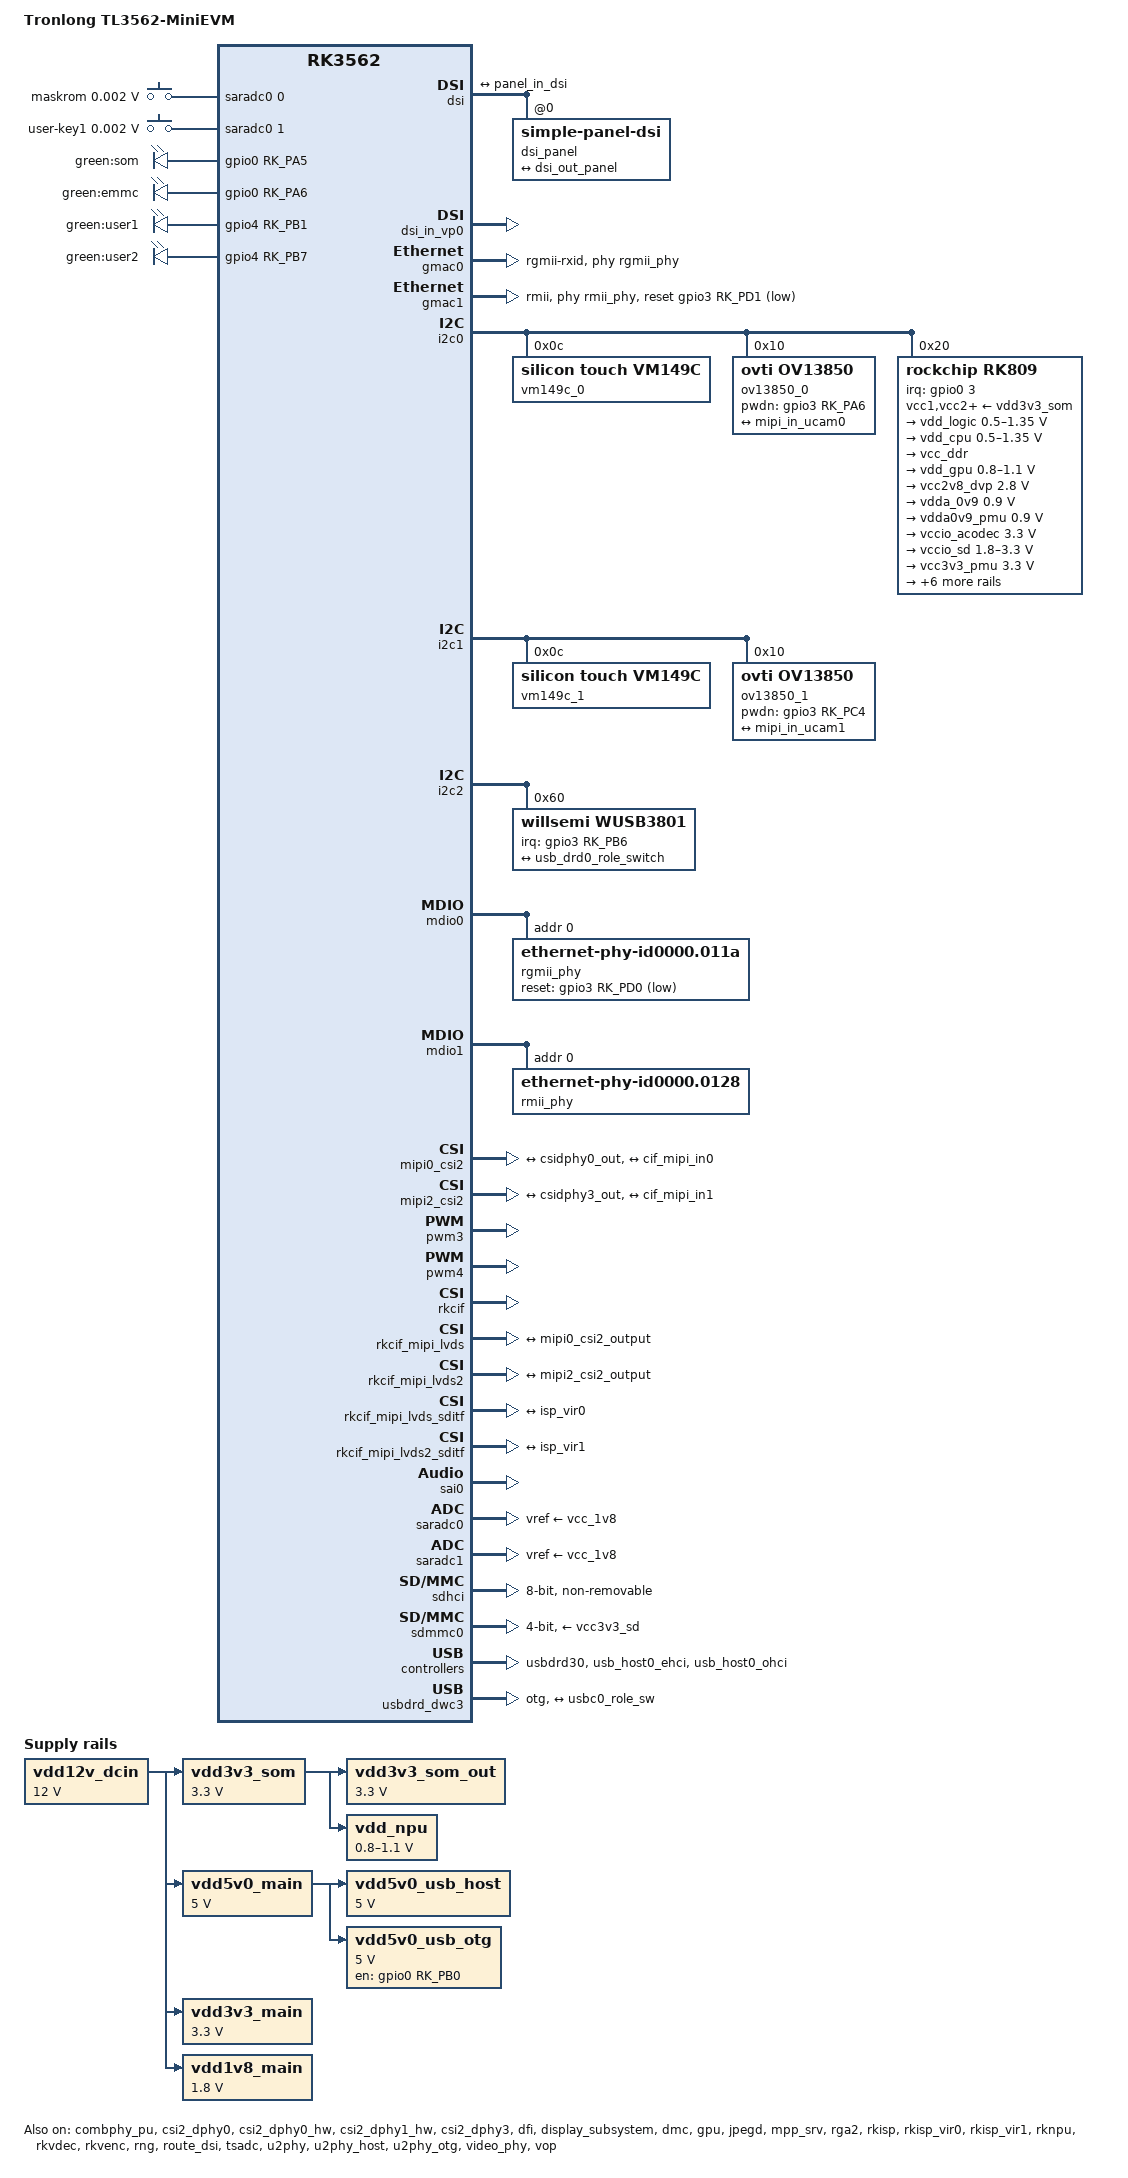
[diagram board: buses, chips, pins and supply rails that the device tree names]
// SPDX-License-Identifier: (GPL-2.0+ OR MIT)
/*
 * Copyright (c) 2022 Rockchip Electronics Co., Ltd.
 * Copyright (c) 2026 flippy (flippy@sina.com)
 *
 */

/dts-v1/;

#include <dt-bindings/display/drm_mipi_dsi.h>
#include <dt-bindings/gpio/gpio.h>
#include <dt-bindings/input/input.h>
#include <dt-bindings/pinctrl/rockchip.h>
#include "rk3562.dtsi"
#include "rk3562-amp.dtsi"

/ {
	model = "Tronlong TL3562-MiniEVM";
	compatible = "tronlong,tl3562-minievm", "rockchip,rk3562";

	aliases {
		mmc0 = &sdhci;
		mmc1 = &sdmmc0;
		mmc2 = &sdmmc1;
	};

	adc_keys0: adc-keys0 {
		compatible = "adc-keys";
		io-channels = <&saradc0 0>;
		io-channel-names = "buttons";
		keyup-threshold-microvolt = <1800000>;
		poll-interval = <100>;

		user_key@2 {
			label = "maskrom";
			linux,code = <KEY_PROG1>;
			press-threshold-microvolt = <1750>;
		};
	};

	adc_keys1: adc-keys1 {
		compatible = "adc-keys";
		io-channels = <&saradc0 1>;
		io-channel-names = "buttons";
		keyup-threshold-microvolt = <1800000>;
		poll-interval = <100>;

		user_key@0 {
			label = "user-key1";
			linux,code = <KEY_PROG1>;
			press-threshold-microvolt = <1750>;
		};
	};

	chosen: chosen {
		bootargs = "earlycon=uart8250,mmio32,0xff210000 console=ttyFIQ0";
	};

	fiq_debugger: fiq-debugger {
		compatible = "rockchip,fiq-debugger";
		rockchip,serial-id = <0>;
		rockchip,wake-irq = <0>;
		/* If enable uart uses irq instead of fiq */
		rockchip,irq-mode-enable = <1>;
		rockchip,baudrate = <1500000>;  /* Only 115200 and 1500000 */
		interrupts = <GIC_SPI 242 IRQ_TYPE_LEVEL_HIGH>;
		pinctrl-names = "default";
		pinctrl-0 = <&uart0m0_xfer>;
		status = "okay";
	};

	gpio_leds: gpio-leds {
		compatible = "gpio-leds";
		pinctrl-names = "default";
		pinctrl-0 = <&led_green_som_pin
			     &led_green_emmc_pin
			     &led_green_user1_pin
		             &led_green_user2_pin>;

		led_green_som: led-green-som {
			label = "green:som";
			gpios = <&gpio0 RK_PA5 GPIO_ACTIVE_HIGH>;
			linux,default-trigger = "heartbeat";
		};

		led_green_emmc: led-green-emmc {
			label = "green:emmc";
			gpios = <&gpio0 RK_PA6 GPIO_ACTIVE_HIGH>;
			linux,default-trigger = "mmc0";
		};

		led_green_user1: led-green-user1 {
			label = "green:user1";
			gpios = <&gpio4 RK_PB1 GPIO_ACTIVE_HIGH>;
			linux,default-trigger = "heartbeat";
		};

		led_green_user2: led-green-user2 {
			label = "green:user2";
			gpios = <&gpio4 RK_PB7 GPIO_ACTIVE_HIGH>;
			linux,default-trigger = "heartbeat";
		};
	};

	pdm_codec: dummy-codec {
		status = "okay";
		compatible = "rockchip,dummy-codec";
		#sound-dai-cells = <0>;
	};

	pdm_mic_array: pdm-mic-array {
		status = "disabled";
		compatible = "simple-audio-card";
		simple-audio-card,name = "rockchip,pdm-mic-array";
		simple-audio-card,cpu {
			sound-dai = <&pdm>;
		};
		simple-audio-card,codec {
			sound-dai = <&pdm_codec>;
		};
	};

	ov9281_clk: ov9281-clk {
		compatible = "fixed-clock";
		#clock-cells = <0>;
		clock-frequency = <24000000>;
		clock-output-names = "ov9281_clk";
	};

	imx219_clk: imx219-clk {
		compatible = "fixed-clock";
		#clock-cells = <0>;
		clock-frequency = <24000000>;
		clock-output-names = "imx219_clk";
	};

	reserved-memory {
		amp_core0_mem_reserved: amp-core0-mem@5800000 {
			reg = <0x0 0x05800000 0x0 0x00800000>;
			no-map;
		};
		amp_core1_mem_reserved: amp-core1-mem@6000000 {
			reg = <0x0 0x06000000 0x0 0x00800000>;
			no-map;
		};
		amp_core2_mem_reserved: amp-core2-mem@6800000 {
			reg = <0x0 0x06800000 0x0 0x00800000>;
			no-map;
		};
		amp_core3_mem_reserved: amp-core3-mem@0x7000000 {
			reg = <0x0 0x07000000 0x0 0x00800000>;
			no-map;
		};
	};

	rk809_sound: rk809-sound {
		status = "okay";
		compatible = "rockchip,multicodecs-card";
		rockchip,card-name = "rockchip-rk809";
		rockchip,format = "i2s";
		rockchip,mclk-fs = <256>;
		rockchip,cpu = <&sai0>;
		rockchip,codec = <&rk809_codec>;
	};

	/* Power source:
	 *   VDD_12V_IN@2A or
	 *   VDD_ADJ_VBUS@5V 2A/9V 2A, from typec power and boost to 12v or
	 *   VDD_5V_VUSB@5V 0.9A, from typec debug and boost to 12v
	 */
	vdd12v_dcin: regulator-vdd12v-dcin {
		compatible = "regulator-fixed";
		regulator-always-on;
		regulator-boot-on;
		regulator-min-microvolt = <12000000>;
		regulator-max-microvolt = <12000000>;
		regulator-name = "vdd12v_dcin";
	};

	/* to: tl3562-som core board */
	vdd3v3_som: regulator-vdd3v3-som {
		compatible = "regulator-fixed";
		regulator-always-on;
		regulator-boot-on;
		regulator-min-microvolt = <3300000>;
		regulator-max-microvolt = <3300000>;
		regulator-name = "vdd3v3_som";
		vin-supply = <&vdd12v_dcin>;
	};

	/* vdd3v3 som output to mainboard */
	vdd3v3_som_out: regulator-vdd3v3-som-out {
		compatible = "regulator-fixed";
		regulator-always-on;
		regulator-boot-on;
		regulator-min-microvolt = <3300000>;
		regulator-max-microvolt = <3300000>;
		regulator-name = "vdd3v3_som_out";
		vin-supply = <&vdd3v3_som>;
	};

	/* enabled by vdd3v3_som_out */
	vdd5v0_main: regulator-vdd5v0-main {
		compatible = "regulator-fixed";
		regulator-always-on;
		regulator-boot-on;
		regulator-min-microvolt = <5000000>;
		regulator-max-microvolt = <5000000>;
		regulator-name = "vdd5v0_main";
		vin-supply = <&vdd12v_dcin>;
	};

	/* enabled by vdd3v3_som_out */
	vdd3v3_main: regulator-vdd3v3-main {
		compatible = "regulator-fixed";
		regulator-always-on;
		regulator-boot-on;
		regulator-min-microvolt = <3300000>;
		regulator-max-microvolt = <3300000>;
		regulator-name = "vdd3v3_main";
		vin-supply = <&vdd12v_dcin>;
	};

	/* enabled by vdd3v3_som_out */
	vdd1v8_main: regulator-vdd1v8-main {
		compatible = "regulator-fixed";
		regulator-always-on;
		regulator-boot-on;
		regulator-min-microvolt = <1800000>;
		regulator-max-microvolt = <1800000>;
		regulator-name = "vdd1v8_main";
		vin-supply = <&vdd12v_dcin>;
	};

	vdd5v0_usb_host: regulator-vdd5v0-usb-host {
		compatible = "regulator-fixed";
		regulator-always-on;
		regulator-boot-on;
		regulator-min-microvolt = <5000000>;
		regulator-max-microvolt = <5000000>;
		regulator-name = "vdd5v0_usb_host";
		vin-supply = <&vdd5v0_main>;
	};

	vdd5v0_usb_otg: regulator-vdd5v0-usb-otg {
		compatible = "regulator-fixed";
		enable-active-high;
		gpios = <&gpio0 RK_PB0 GPIO_ACTIVE_HIGH>;
		pinctrl-names = "default";
		pinctrl-0 = <&usb_otg_pwren>;
		regulator-min-microvolt = <5000000>;
		regulator-max-microvolt = <5000000>;
		regulator-name = "vdd5v0_usb_otg";
		vin-supply = <&vdd5v0_main>;
	};

	vdd_npu: vdd-npu {
		compatible = "pwm-regulator";
		pwms = <&pwm3 0 5000 1>;
		regulator-always-on;
		regulator-boot-on;
		regulator-min-microvolt = <800000>;
		regulator-max-microvolt = <1100000>;
		regulator-init-microvolt = <900000>;
		regulator-name = "vdd_npu";
		regulator-settling-time-up-us = <250>;
		pwm-supply = <&vdd3v3_som>;
		status = "okay";
	};
};

&combphy_pu {
	status = "okay";
};

&cpu0 {
	cpu-supply = <&vdd_cpu>;
};

&csi2_dphy0 {
	status = "okay";

	ports {
		#address-cells = <1>;
		#size-cells = <0>;
		port@0 {
			reg = <0>;
			#address-cells = <1>;
			#size-cells = <0>;

			mipi_in_ucam0: endpoint@1 {
				reg = <1>;
				remote-endpoint = <&ov13850_out0>;
				data-lanes = <1 2 3 4>;
			};
		};

		port@1 {
			reg = <1>;
			#address-cells = <1>;
			#size-cells = <0>;

			csidphy0_out: endpoint@0 {
				reg = <0>;
				remote-endpoint = <&mipi0_csi2_input>;
			};
		};
	};
};

&csi2_dphy0_hw {
	status = "okay";
};

&csi2_dphy1_hw {
	status = "okay";
};

&csi2_dphy3 {
	status = "okay";

	ports {
		#address-cells = <1>;
		#size-cells = <0>;
		port@0 {
			reg = <0>;
			#address-cells = <1>;
			#size-cells = <0>;

			mipi_in_ucam1: endpoint@1 {
				reg = <1>;
				remote-endpoint = <&ov13850_out1>;
				data-lanes = <1 2 3 4>;
			};
		};

		port@1 {
			reg = <1>;
			#address-cells = <1>;
			#size-cells = <0>;

			csidphy3_out: endpoint@0 {
				reg = <0>;
				remote-endpoint = <&mipi2_csi2_input>;
			};
		};
	};
};

&dfi {
	status = "okay";
};

&display_subsystem {
	status = "okay";
};

&dmc {
	center-supply = <&vdd_logic>;
	status = "okay";
};

&dsi {
	status = "okay";
	//rockchip,lane-rate = <1000>;

	dsi_panel: panel@0 {
		status = "okay";
		compatible = "simple-panel-dsi";
		reg = <0>;

		bpc = <8>;
		reset-delay-ms = <60>;
		enable-delay-ms = <200>; // default value is 60
		prepare-delay-ms = <200>; // default value is 60
		unprepare-delay-ms = <200>; // default value is 60
		disable-delay-ms = <200>; // default value is 60
		width-mm = <68>;
		height-mm = <121>;

		/*
		 * To adapt to LT8912B,
		 * 5.10: MIPI_DSI_MODE_VIDEO_HBP need to be added in RK3562-MINI-EVM.
		 *       MIPI_DSI_MODE_EOT_PACKET
		 * 6.1:  MIPI_DSI_MODE_VIDEO_NO_HBP need to be added in RK3562-MINI-EVM.
		 *       MIPI_DSI_MODE_NO_EOT_PACKET
		 */
		dsi,flags = <(MIPI_DSI_MODE_VIDEO | MIPI_DSI_MODE_VIDEO_BURST |
			MIPI_DSI_MODE_VIDEO_NO_HBP | MIPI_DSI_MODE_NO_EOT_PACKET)>;
		dsi,format = <MIPI_DSI_FMT_RGB888>;
		dsi,lanes  = <4>;

		disp_timings0: display-timings {
			native-mode = <&dsi_timing0>;
			dsi_timing0: timing0 {
				/* 1920 x 1080 @ 60Hz => (LT8912B Bridge) => HDMI
				 * 分辨率与频率：
				 *     hactive = 1920 和 vactive = 1080 配合
				 *     clock-frequency = 148500000 (148.5 MHz),
				 *     正好对应 60Hz 刷新率。
				 * 水平时序 (Horizontal)：
				 *     hfront-porch = 88
				 *     hsync-len = 44
				 *     hback-porch = 148
				 * 水平总像素 (H-Total)：
				 *     1920 + 88 + 44 + 148 = 2200
				 * 垂直时序 (Vertical)：
				 *     vfront-porch = 4
				 *     vsync-len = 5
				 *     vback-porch = 36
				 * 垂直总行数 (V-Total)：
				 *     1080 + 4 + 5 + 36 = 1125 
				 * 刷新率：
				 *     148500000 / (2200 x 1125) = 60 Hz
				 */
				clock-frequency = <148500000>;
				hactive = <1920>;
				vactive = <1080>;
				hfront-porch = <88>;
				hsync-len = <44>;
				hback-porch = <148>;
				vfront-porch = <4>;
				vsync-len = <5>;
				vback-porch = <36>;
				/* 水平极性 */
				hsync-active = <0>;
				/* 垂直极性 */
				vsync-active = <1>;
				/* 数据使能信号 */
				de-active = <0>;
				/* 采样极性： 下降边沿采样/上升边沿采样 */
				pixelclk-active = <0>;
			};
		};

		ports {
			#address-cells = <1>;
			#size-cells = <0>;

			port@0 {
				reg = <0>;
				panel_in_dsi: endpoint {
					data-lanes = <1 2 3 4>;
					remote-endpoint = <&dsi_out_panel>;
				};
			};
		};
	};

	ports {
		#address-cells = <1>;
		#size-cells = <0>;

		port@1 {
			reg = <1>;
			dsi_out_panel: endpoint {
				data-lanes = <1 2 3 4>;
				remote-endpoint = <&panel_in_dsi>;
			};
		};
	};
};

&dsi_in_vp0 {
	status = "okay";
};

&gmac0 {
	/* Use rgmii-rxid mode to disable rx delay inside Soc */
	phy-mode = "rgmii-rxid";
	clock_in_out = "output";

	phy-handle = <&rgmii_phy>;
	pinctrl-names = "default";
	pinctrl-0 = <&rgmiim0_miim
		     &rgmiim0_tx_bus2
		     &rgmiim0_rx_bus2
		     &rgmiim0_rgmii_clk
		     &rgmiim0_rgmii_bus>;

	tx_delay = <0x35>;
	/*rx_delay = <0x10>; */

	status = "okay";
};

&gmac1 {
	phy-mode = "rmii";
	clock_in_out = "input";

	phy-handle = <&rmii_phy>;
	pinctrl-names = "default";
	pinctrl-0 = <&rmii_pins>;

	snps,reset-gpio = <&gpio3 RK_PD1 GPIO_ACTIVE_LOW>;
	snps,reset-active-low;
	snps,reset-delays-us = <200000 200000 200000>;

	status = "okay";
};

&gpu {
	mali-supply = <&vdd_gpu>;
	status = "okay";
};

&i2c0 {
	status = "okay";

	vm149c_0: vm149c@c {
		compatible = "silicon touch,vm149c";
		reg = <0x0c>;
		rockchip,camera-module-index = <2>;
		rockchip,camera-module-facing = "back";
		status = "okay";
	};

	ov13850_0: ov13850@10 {
		compatible = "ovti,ov13850";
		reg = <0x10>;
		clocks = <&cru CLK_CAM0_OUT2IO>;
		clock-names = "xvclk";
		pinctrl-names = "default";
		pinctrl-0 = <&camm0_clk0_out>;
		pwdn-gpios = <&gpio3 RK_PA6 GPIO_ACTIVE_HIGH>;
		rockchip,camera-module-index = <0>;
		rockchip,camera-module-facing = "back";
		rockchip,camera-module-name = "RK-CMK-8M-2-v1";
		rockchip,camera-module-lens-name = "CK8401";
		lens-focus = <&vm149c_0>;
		status = "okay";

		port {
			ov13850_out0: endpoint {
				remote-endpoint = <&mipi_in_ucam0>;
				data-lanes = <1 2 3 4>;
			};
		};
	};

	rk809: pmic@20 {
		compatible = "rockchip,rk809";
		reg = <0x20>;
		interrupt-parent = <&gpio0>;
		interrupts = <3 IRQ_TYPE_LEVEL_LOW>;

		pinctrl-names = "default", "pmic-sleep",
			"pmic-power-off", "pmic-reset";
		pinctrl-0 = <&pmic_int>;
		pinctrl-1 = <&soc_slppin_slp>;
		pinctrl-2 = <&soc_slppin_gpio>;
		pinctrl-3 = <&soc_slppin_gpio>;
		rockchip,system-power-controller;
		wakeup-source;
		#clock-cells = <1>;
		clock-output-names = "rk808-clkout1", "rk808-clkout2";
		/* 1: rst regs (default in codes), 0: rst the pmic */
		pmic-reset-func = <0>;
		/* not save the PMIC_POWER_EN register in uboot */
		not-save-power-en = <1>;

		vcc1-supply = <&vdd3v3_som>;
		vcc2-supply = <&vdd3v3_som>;
		vcc3-supply = <&vdd3v3_som>;
		vcc4-supply = <&vdd3v3_som>;
		vcc5-supply = <&vdd3v3_som>;
		vcc6-supply = <&vdd3v3_som>;
		vcc7-supply = <&vdd3v3_som>;
		vcc8-supply = <&vdd3v3_som>;
		vcc9-supply = <&vdd3v3_som>;

		pwrkey {
			status = "okay";
		};

		pinctrl_rk8xx: pinctrl_rk8xx {
			gpio-controller;
			#gpio-cells = <2>;

			rk817_slppin_null: rk817_slppin_null {
				pins = "gpio_slp";
				function = "pin_fun0";
			};

			rk817_slppin_slp: rk817_slppin_slp {
				pins = "gpio_slp";
				function = "pin_fun1";
			};

			rk817_slppin_pwrdn: rk817_slppin_pwrdn {
				pins = "gpio_slp";
				function = "pin_fun2";
			};

			rk817_slppin_rst: rk817_slppin_rst {
				pins = "gpio_slp";
				function = "pin_fun3";
			};
		};

		regulators {
			vdd_logic: DCDC_REG1 {
				regulator-always-on;
				regulator-boot-on;
				regulator-min-microvolt = <500000>;
				regulator-max-microvolt = <1350000>;
				regulator-init-microvolt = <950000>;
				regulator-ramp-delay = <6001>;
				regulator-initial-mode = <0x2>;
				regulator-name = "vdd_logic";
				regulator-state-mem {
					regulator-off-in-suspend;
				};
			};

			vdd_cpu: DCDC_REG2 {
				regulator-always-on;
				regulator-boot-on;
				regulator-min-microvolt = <500000>;
				regulator-max-microvolt = <1350000>;
				regulator-init-microvolt = <1050000>;
				regulator-ramp-delay = <6001>;
				regulator-initial-mode = <0x2>;
				regulator-name = "vdd_cpu";
				regulator-state-mem {
					regulator-off-in-suspend;
				};
			};

			vcc_ddr: DCDC_REG3 {
				regulator-always-on;
				regulator-boot-on;
				regulator-initial-mode = <0x2>;
				regulator-name = "vcc_ddr";
				regulator-state-mem {
					regulator-on-in-suspend;
				};
			};

			vdd_gpu: DCDC_REG4 {
				regulator-always-on;
				regulator-boot-on;
				regulator-min-microvolt = <800000>;
				regulator-max-microvolt = <1100000>;
				regulator-init-microvolt = <900000>;
				regulator-ramp-delay = <6001>;
				regulator-initial-mode = <0x2>;
				regulator-name = "vdd_gpu";
				regulator-state-mem {
					regulator-changeable-in-suspend;
					regulator-off-in-suspend;
				};
			};

			vcc2v8_dvp: LDO_REG1 {
				regulator-min-microvolt = <2800000>;
				regulator-max-microvolt = <2800000>;
				regulator-name = "vcc2v8_dvp";
				regulator-state-mem {
					regulator-off-in-suspend;
				};
			};

			vdda_0v9: LDO_REG2 {
				regulator-always-on;
				regulator-boot-on;
				regulator-min-microvolt = <900000>;
				regulator-max-microvolt = <900000>;
				regulator-name = "vdda_0v9";
				regulator-state-mem {
					regulator-off-in-suspend;
				};
			};

			vdda0v9_pmu: LDO_REG3 {
				regulator-always-on;
				regulator-boot-on;
				regulator-min-microvolt = <900000>;
				regulator-max-microvolt = <900000>;
				regulator-name = "vdda0v9_pmu";
				regulator-state-mem {
				regulator-on-in-suspend;
					regulator-suspend-microvolt = <900000>;
				};
			};

			vccio_acodec: LDO_REG4 {
				regulator-always-on;
				regulator-boot-on;
				regulator-min-microvolt = <3300000>;
				regulator-max-microvolt = <3300000>;
				regulator-name = "vccio_acodec";
				regulator-state-mem {
					regulator-off-in-suspend;
				};
			};

			vccio_sd: LDO_REG5 {
				regulator-always-on;
				regulator-boot-on;
				regulator-min-microvolt = <1800000>;
				regulator-max-microvolt = <3300000>;
				regulator-name = "vccio_sd";
				regulator-state-mem {
					regulator-off-in-suspend;
				};
			};

			vcc3v3_pmu: LDO_REG6 {
				regulator-always-on;
				regulator-boot-on;
				regulator-min-microvolt = <3300000>;
				regulator-max-microvolt = <3300000>;
				regulator-name = "vcc3v3_pmu";
				regulator-state-mem {
					regulator-on-in-suspend;
					regulator-suspend-microvolt = <3300000>;
				};
			};

			vcca_3v3: LDO_REG7 {
				regulator-always-on;
				regulator-boot-on;
				regulator-min-microvolt = <3300000>;
				regulator-max-microvolt = <3300000>;
				regulator-name = "vcca_3v3";
				regulator-state-mem {
					regulator-off-in-suspend;
				};
			};

			vcca1v8_pmu: LDO_REG8 {
				regulator-always-on;
				regulator-boot-on;
				regulator-min-microvolt = <1800000>;
				regulator-max-microvolt = <1800000>;
				regulator-name = "vcca1v8_pmu";
				regulator-state-mem {
				regulator-on-in-suspend;
					regulator-suspend-microvolt = <1800000>;
				};
			};

			vcc1v8_dvp: LDO_REG9 {
				regulator-min-microvolt = <1800000>;
				regulator-max-microvolt = <1800000>;
				regulator-name = "vcc1v8_dvp";
				regulator-state-mem {
					regulator-off-in-suspend;
				};
			};

			vcc_1v8: DCDC_REG5 {
				regulator-always-on;
				regulator-boot-on;
				regulator-min-microvolt = <1800000>;
				regulator-max-microvolt = <1800000>;
				regulator-name = "vcc_1v8";
				regulator-state-mem {
					regulator-off-in-suspend;
				};
			};

			vcc_3v3: SWITCH_REG1 {
				regulator-always-on;
				regulator-boot-on;
				regulator-name = "vcc_3v3";
				regulator-state-mem {
					regulator-off-in-suspend;
				};
			};

			vcc3v3_sd: SWITCH_REG2 {
				regulator-always-on;
				regulator-boot-on;
				regulator-name = "vcc3v3_sd";
				regulator-state-mem {
					regulator-off-in-suspend;
				};
			};
		};

		rk809_codec: codec {
			#sound-dai-cells = <1>;
			compatible = "rockchip,rk809-codec", "rockchip,rk817-codec";
			clocks = <&mclkout_sai0>;
			clock-names = "mclk";
			assigned-clocks = <&mclkout_sai0>;
			assigned-clock-rates = <12288000>;
			pinctrl-names = "default";
			pinctrl-0 = <&i2s0m0_mclk>;
			hp-volume = <20>;
			spk-volume = <3>;
			mic-in-differential;
			status = "okay";
		};
	};
};

&i2c1 {
	pinctrl-names = "default";
	pinctrl-0 = <&i2c1m0_xfer>;
	status = "okay";

	vm149c_1: vm149c@c {
		compatible = "silicon touch,vm149c";
		reg = <0x0c>;
		rockchip,camera-module-index = <3>;
		rockchip,camera-module-facing = "back";
		status = "okay";
	};

	ov13850_1: ov13850@10 {
		compatible = "ovti,ov13850";
		reg = <0x10>;
		clocks = <&cru CLK_CAM2_OUT2IO>;
		clock-names = "xvclk";
		pinctrl-names = "default";
		pinctrl-0 = <&cam_clk2_out>;
		pwdn-gpios = <&gpio3 RK_PC4 GPIO_ACTIVE_HIGH>;
		rockchip,camera-module-index = <1>;
		rockchip,camera-module-facing = "back";
		rockchip,camera-module-name = "RK-CMK-8M-2-v1";
		rockchip,camera-module-lens-name = "CK8401";
		lens-focus = <&vm149c_1>;
		status = "okay";

		port {
			ov13850_out1: endpoint {
				remote-endpoint = <&mipi_in_ucam1>;
				data-lanes = <1 2 3 4>;
			};
		};
	};
};

&i2c2 {
	pinctrl-names = "default";
	pinctrl-0 = <&i2c2m0_xfer>;
	status = "okay";

	wusb3801: tcpc@60 {
		status = "okay";
		compatible = "willsemi,wusb3801";
		reg = <0x60>;

		/* ch482d sel function:
		 *   L: Port 0 is active
		 *   H: Port 1 is active
		 * But both port 0 and port 1 are connected to the same Type-C connectort.
		 */
		pinctrl-names = "default";
		pinctrl-0 = <&wusb3801_int_pin &ch482d_sel_pin>;

		interrupt-parent = <&gpio3>;
		interrupts = <RK_PB6 IRQ_TYPE_LEVEL_LOW>;

		connector {
			compatible = "usb-c-connector";
			label = "USB-C";
			pd-disable;
			power-role = "dual";
			try-power-role = "sink";
			data-role = "dual";
			typec-power-opmode = "default";
			vbus-supply = <&vdd5v0_usb_otg>;

			port {
				usbc0_role_sw: endpoint {
					remote-endpoint = <&usb_drd0_role_switch>;
				};
			};
		};

	};
};

&jpegd {
	status = "okay";
};

&jpegd_mmu {
	status = "okay";
};

&mdio0 {
	rgmii_phy: phy@0 {
		/* Motorcomm YT8521SH */
		compatible = "ethernet-phy-id0000.011a";
		reg = <0x0>;

		clocks = <&cru CLK_GMAC_ETH_OUT2IO>;
		assigned-clocks = <&cru CLK_GMAC_ETH_OUT2IO>;
		assigned-clock-rates = <25000000>;

		pinctrl-names = "default";
		pinctrl-0 = <&rgmii_phy_rst_l>;

		/* Reset time is 20ms, 100ms for yt8521 */
		reset-assert-us = <20000>;
		reset-deassert-us = <200000>;
		reset-gpios = <&gpio3 RK_PD0 GPIO_ACTIVE_LOW>;
	};
};

&mdio1 {
	rmii_phy: phy@0 {
		/* Motorcomm YT8512H */
		compatible = "ethernet-phy-id0000.0128";
		reg = <0x0>;

		pinctrl-names = "default";
		pinctrl-0 = <&rmii_phy_rst_l>;
	};
};

&mipi0_csi2 {
	status = "okay";

	ports {
		#address-cells = <1>;
		#size-cells = <0>;

		port@0 {
			reg = <0>;
			#address-cells = <1>;
			#size-cells = <0>;

			mipi0_csi2_input: endpoint@1 {
				reg = <1>;
				remote-endpoint = <&csidphy0_out>;
			};
		};

		port@1 {
			reg = <1>;
			#address-cells = <1>;
			#size-cells = <0>;

			mipi0_csi2_output: endpoint@0 {
				reg = <0>;
				remote-endpoint = <&cif_mipi_in0>;
			};
		};
	};
};

&mipi2_csi2 {
	status = "okay";

	ports {
		#address-cells = <1>;
		#size-cells = <0>;

		port@0 {
			reg = <0>;
			#address-cells = <1>;
			#size-cells = <0>;

			mipi2_csi2_input: endpoint@1 {
				reg = <1>;
				remote-endpoint = <&csidphy3_out>;
			};
		};

		port@1 {
			reg = <1>;
			#address-cells = <1>;
			#size-cells = <0>;

			mipi2_csi2_output: endpoint@0 {
				reg = <0>;
				remote-endpoint = <&cif_mipi_in1>;
			};
		};
	};
};

&mpp_srv {
	status = "okay";
};

&pinctrl {
	pinctrl-names = "default";
	pinctrl-0 = <&export_pins_gpio>;

	ethernet_phy {
		rgmii_phy_rst_l: rgmii-phy-rst-l {
			rockchip,pins = <3 RK_PD0 RK_FUNC_GPIO &pcfg_pull_none>;
		};

		rmii_phy_rst_l: rmii-phy-rst-l {
			rockchip,pins = <3 RK_PD1 RK_FUNC_GPIO &pcfg_pull_none>;
		};
	};
		
	export-pins {
		export_pins_gpio: export_pins_gpio {
			rockchip,pins = <
			0 RK_PC0 RK_FUNC_GPIO &pcfg_pull_none
			0 RK_PC1 RK_FUNC_GPIO &pcfg_pull_none
			0 RK_PC6 RK_FUNC_GPIO &pcfg_pull_none
			0 RK_PC7 RK_FUNC_GPIO &pcfg_pull_none
			3 RK_PA0 RK_FUNC_GPIO &pcfg_pull_none
			3 RK_PA1 RK_FUNC_GPIO &pcfg_pull_none
			4 RK_PB4 RK_FUNC_GPIO &pcfg_pull_none
			4 RK_PB5 RK_FUNC_GPIO &pcfg_pull_none
			1 RK_PC1 RK_FUNC_GPIO &pcfg_pull_none
			1 RK_PC2 RK_FUNC_GPIO &pcfg_pull_none
			1 RK_PC3 RK_FUNC_GPIO &pcfg_pull_none
			1 RK_PC4 RK_FUNC_GPIO &pcfg_pull_none
			1 RK_PC5 RK_FUNC_GPIO &pcfg_pull_none
			1 RK_PC6 RK_FUNC_GPIO &pcfg_pull_none
			4 RK_PB6 RK_FUNC_GPIO &pcfg_pull_none
			3 RK_PD2 RK_FUNC_GPIO &pcfg_pull_none
			3 RK_PD3 RK_FUNC_GPIO &pcfg_pull_none
			3 RK_PB7 RK_FUNC_GPIO &pcfg_pull_none
			3 RK_PC0 RK_FUNC_GPIO &pcfg_pull_none>;
		};
	};

	leds {
		led_green_som_pin: led-green-som-pin {
			rockchip,pins = <0 RK_PA5 RK_FUNC_GPIO &pcfg_pull_none>;
		};

		led_green_emmc_pin: led-green-emmc-pin {
			rockchip,pins = <0 RK_PA6 RK_FUNC_GPIO &pcfg_pull_none>;
		};

		led_green_user1_pin: led-green-user1-pin {
			rockchip,pins = <4 RK_PB1 RK_FUNC_GPIO &pcfg_pull_none>;
		};

		led_green_user2_pin: led-green-user2-pin {
			rockchip,pins = <4 RK_PB7 RK_FUNC_GPIO &pcfg_pull_none>;
		};
	};

	usb {
		ch482d_sel_pin: ch482d-sel-pin {
			rockchip,pins = <3 RK_PC1 RK_FUNC_GPIO &pcfg_pull_down>;
		};

		wusb3801_int_pin: wusb3801-int-pin {
			rockchip,pins = <3 RK_PB6 RK_FUNC_GPIO &pcfg_pull_none>;
		};

		usb_otg_pwren: usb-otg-pwren {
			rockchip,pins = <0 RK_PB0 RK_FUNC_GPIO &pcfg_pull_none>;
		};
	};
};

/* pwm3: for vdd_npu */
&pwm3 {
	status = "okay";
};

&pwm4 {
	status = "okay";
};

&rga2 {
	status = "okay";
};

&rga2_mmu {
	status = "okay";
};

&rkcif {
	status = "okay";
};

&rkcif_mipi_lvds {
	status = "okay";

	port {
		cif_mipi_in0: endpoint {
			remote-endpoint = <&mipi0_csi2_output>;
		};
	};
};

&rkcif_mipi_lvds2 {
	status = "okay";

	port {
		cif_mipi_in1: endpoint {
			remote-endpoint = <&mipi2_csi2_output>;
		};
	};
};

&rkcif_mipi_lvds_sditf {
	status = "okay";

	port {
		mipi_lvds_sditf: endpoint {
			remote-endpoint = <&isp_vir0>;
		};
	};
};

&rkcif_mipi_lvds2_sditf {
	status = "okay";

	port {
		mipi_lvds2_sditf: endpoint {
			remote-endpoint = <&isp_vir1>;
		};
	};
};

&rkcif_mmu {
	status = "okay";
};

&rkisp {
	status = "okay";
};

&rkisp_mmu {
	status = "okay";
};

&rkisp_vir0 {
	status = "okay";

	port {
		#address-cells = <1>;
		#size-cells = <0>;

		isp_vir0: endpoint@0 {
			reg = <0>;
			remote-endpoint = <&mipi_lvds_sditf>;
		};
	};
};

&rkisp_vir1 {
	status = "okay";

	port {
		#address-cells = <1>;
		#size-cells = <0>;

		isp_vir1: endpoint@1 {
			reg = <1>;
			remote-endpoint = <&mipi_lvds2_sditf>;
		};
	};
};

&rknpu {
	rknpu-supply = <&vdd_npu>;
	status = "okay";
};

&rknpu_mmu {
	status = "okay";
};

&rkvdec {
	status = "okay";
};

&rkvdec_mmu {
	status = "okay";
};

&rkvenc {
	status = "okay";
};

&rkvenc_mmu {
	status = "okay";
};

&rng {
	status = "okay";
};

&rockchip_amp {
	clocks = <&cru FCLK_BUS_CM0_CORE>, <&cru CLK_BUS_CM0_RTC>,
		<&cru PCLK_MAILBOX>, <&cru PCLK_INTC>,
		<&cru PCLK_TIMER>, <&cru CLK_TIMER4>, <&cru CLK_TIMER5>,
		<&cru SCLK_UART2>, <&cru PCLK_UART2>;

	/delete-property/ pinctrl-names;
	/delete-property/ pinctrl-0;
};

&route_dsi {
	status = "okay";
};

&rpmsg {
	/* CPU3: link-id 0x03; MCU: link-id 0x04; */
	rockchip,link-id = <0x04>;
};

&sai0 {
	status = "okay";
	pinctrl-names = "default";
	pinctrl-0 = <&i2s0m0_lrck
		     &i2s0m0_sclk
		     &i2s0m0_sdi0
		     &i2s0m0_sdo0>;
};

&saradc0 {
	status = "okay";
	vref-supply = <&vcc_1v8>;
};

&saradc1 {
	status = "okay";
	vref-supply = <&vcc_1v8>;
};

&sdhci {
	bus-width = <8>;
	no-sdio;
	no-sd;
	non-removable;
	max-frequency = <200000000>;
	cap-mmc-highspeed;
	mmc-ddr-1_8v;
	mmc-hs200-1_8v;
	mmc-hs400-1_8v;
	mmc-hs400-enhanced-strobe;
	full-pwr-cycle-in-suspend;
	status = "okay";
};

&sdmmc0 {
	no-sdio;
	no-mmc;
	bus-width = <4>;
	cap-mmc-highspeed;
	cap-sd-highspeed;
	disable-wp;
	sd-uhs-sdr50;
	sd-uhs-sdr104;
	vmmc-supply = <&vcc3v3_sd>;
	vqmmc-supply = <&vccio_sd>;
	pinctrl-names = "default";
	pinctrl-0 = <&sdmmc0_bus4 &sdmmc0_clk &sdmmc0_cmd &sdmmc0_det>;
	status = "okay";
};

&spi0 {
	pinctrl-names = "default";
	pinctrl-0 = <&spi0m0_csn0 &spi0m0_pins>;
	satus = "okay";
};

&tsadc {
	status = "okay";
};

&u2phy {
	status = "okay";
};

&u2phy_host {
	status = "okay";
	phy-supply = <&vdd5v0_usb_host>;
};

&u2phy_otg {
	status = "okay";
};

&usbdrd30 {
	status = "okay";
};

&usbdrd_dwc3 {
	dr_mode = "otg";
	extcon = <&u2phy>;
	status = "okay";

	port {
		#address-cells = <1>;
		#size-cells = <0>;

		usb_drd0_role_switch: endpoint@0 {
			remote-endpoint = <&usbc0_role_sw>;
		};
	};
};

&usb_host0_ehci {
	status = "okay";
};

&usb_host0_ohci {
	status = "okay";
};

&video_phy {
	status = "okay";
};

&vop {
	status = "okay";
};

&vop_mmu {
	status = "okay";
};
